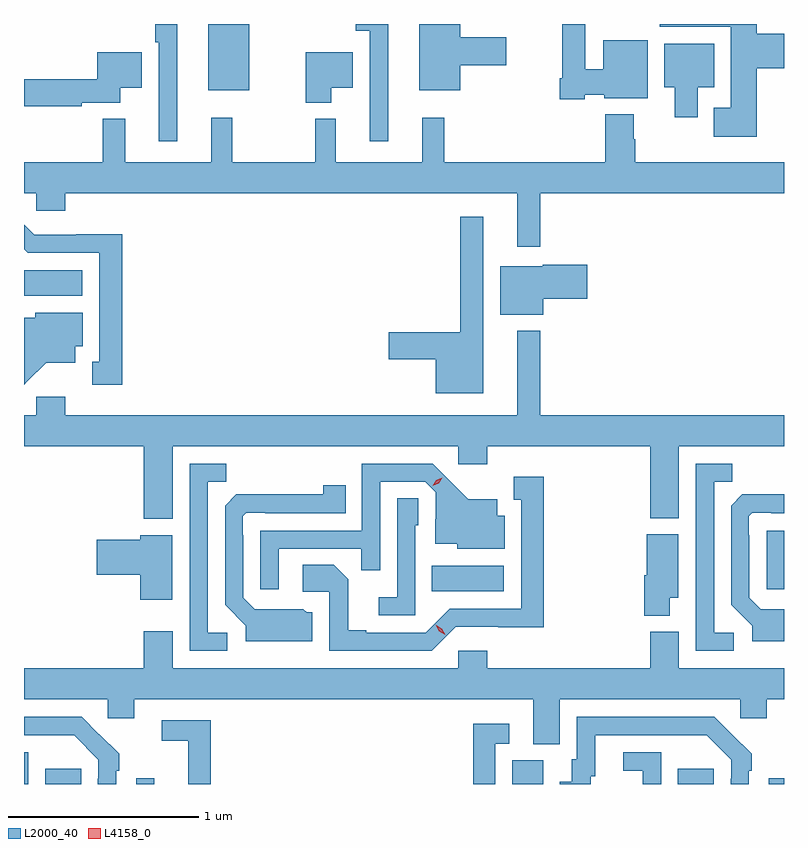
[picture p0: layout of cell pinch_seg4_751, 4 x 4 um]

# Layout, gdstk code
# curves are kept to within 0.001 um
import gdstk
lib = gdstk.Library(unit=1e-6, precision=1e-09)
def R(c, l, rs):  # rectangles x0, y0, x1, y1
    for r in rs: c.add(gdstk.rectangle(r[:2], r[2:], *l))
def P(c, l, *ps):  # polygons
    for p in ps: c.add(gdstk.Polygon(p, *l))
L2000_40 = (2000, 40)
L4158_0 = (4158, 0)

pinch_seg4_751 = lib.new_cell('pinch_seg4_751')
R(pinch_seg4_751, L2000_40, [(769.477,816.355,769.5,816.522), (769.589,816.355,769.777,816.436), (770.067,816.355,770.163,816.385), (772.046,816.355,772.21,816.48), (772.919,816.355,773.107,816.436), (773.397,816.355,773.477,816.385), (771.622,817.37,772.003,817.504), (773.385,817.38,773.477,817.689), (769.477,818.924,769.783,819.058), (770.447,820.007,770.662,820.355)])
P(pinch_seg4_751, L2000_40, [(773.333,820.121),(773.477,820.121),(773.477,820.304),(773.333,820.304),(773.333,820.355),(772.823,820.355),(772.823,820.34),(773.198,820.34),(773.198,819.913),(773.108,819.913),(773.108,819.761),(773.333,819.761)],
  [(770.284,820.355),(770.167,820.355),(770.167,820.259),(770.187,820.259),(770.187,819.738),(770.284,819.738)],
  [(771.394,820.355),(771.224,820.355),(771.224,820.319),(771.297,820.319),(771.297,819.738),(771.394,819.738)],
  [(771.772,820.139),(772.015,820.139),(772.015,820.286),(771.772,820.286),(771.772,820.355),(771.557,820.355),(771.557,820.007),(771.772,820.007)],
  [(772.428,819.983),(772.53,819.983),(772.53,819.965),(772.759,819.965),(772.759,820.27),(772.526,820.27),(772.526,820.118),(772.432,820.118),(772.432,820.354),(772.31,820.354),(772.31,820.069),(772.298,820.069),(772.298,819.958),(772.428,819.958)],
  [(773.023,820.022),(773.11,820.022),(773.11,820.252),(772.847,820.252),(772.847,820.022),(772.901,820.022),(772.901,819.864),(773.023,819.864)],
  [(771.094,820.019),(771.208,820.019),(771.208,820.207),(770.96,820.207),(770.96,819.941),(771.094,819.941)],
  [(769.782,819.941),(769.984,819.941),(769.984,820.019),(770.098,820.019),(770.098,820.207),(769.862,820.207),(769.862,820.064),(769.477,820.064),(769.477,819.922),(769.782,819.922)],
  [(772.195,819.464),(773.477,819.464),(773.477,819.628),(772.695,819.628),(772.695,819.749),(772.687,819.749),(772.687,819.88),(772.535,819.88),(772.535,819.628),(771.689,819.628),(771.689,819.862),(771.572,819.862),(771.572,819.628),(771.119,819.628),(771.119,819.856),(771.009,819.856),(771.009,819.628),(770.572,819.628),(770.572,819.862),(770.462,819.862),(770.462,819.628),(770.009,819.628),(770.009,819.856),(769.891,819.856),(769.891,819.628),(769.477,819.628),(769.477,819.464),(769.542,819.464),(769.542,819.371),(769.694,819.371),(769.694,819.464),(772.073,819.464),(772.073,819.183),(772.195,819.183)],
  [(771.895,819.34),(771.774,819.34),(771.774,818.732),(771.396,818.732),(771.396,818.59),(771.644,818.59),(771.644,818.411),(771.895,818.411)],
  [(769.993,819.248),(769.752,819.248),(769.752,819.246),(769.53,819.246),(769.477,819.299),(769.477,819.17),(769.497,819.15),(769.874,819.15),(769.874,818.577),(769.835,818.577),(769.835,818.457),(769.993,818.457)],
  [(772.21,818.909),(772.441,818.909),(772.441,819.087),(772.206,819.087),(772.206,819.079),(771.983,819.079),(771.983,818.825),(772.21,818.825)],
  [(769.492,818.471),(769.595,818.573),(769.747,818.573),(769.747,818.66),(769.786,818.66),(769.786,818.836),(769.536,818.836),(769.536,818.809),(769.477,818.809),(769.477,818.456)],
  [(770.26,818.132),(771.762,818.132),(771.762,818.037),(771.914,818.037),(771.914,818.132),(772.772,818.132),(772.772,817.754),(772.924,817.754),(772.924,818.132),(773.477,818.132),(773.477,818.296),(772.195,818.296),(772.195,818.74),(772.073,818.74),(772.073,818.296),(769.694,818.296),(769.694,818.392),(769.542,818.392),(769.542,818.296),(769.477,818.296),(769.477,818.132),(770.108,818.132),(770.108,817.752),(770.26,817.752)],
  [(773.212,817.152),(773.109,817.152),(773.109,817.945),(773.205,817.945),(773.205,818.04),(773.013,818.04),(773.013,817.056),(773.212,817.056)],
  [(770.548,817.152),(770.445,817.152),(770.445,817.945),(770.541,817.945),(770.541,818.04),(770.349,818.04),(770.349,817.056),(770.548,817.056)],
  [(770.817,817.593),(771.253,817.593),(771.253,817.48),(771.351,817.48),(771.351,817.947),(771.588,817.947),(771.645,817.89),(771.645,817.748),(771.641,817.748),(771.641,817.619),(771.756,817.619),(771.756,817.592),(772.006,817.592),(772.006,817.768),(771.967,817.768),(771.967,817.855),(771.815,817.855),(771.628,818.04),(771.255,818.04),(771.255,817.689),(770.721,817.689),(770.721,817.38),(770.817,817.38)],
  [(771.75,817.182),(772.213,817.181),(772.213,817.972),(772.055,817.972),(772.055,817.851),(772.094,817.851),(772.094,817.278),(771.717,817.278),(771.591,817.152),(771.277,817.152),(771.277,817.165),(771.183,817.165),(771.183,817.432),(771.107,817.508),(770.943,817.508),(770.943,817.368),(771.084,817.368),(771.084,817.056),(771.624,817.056)],
  [(770.995,817.26),(770.964,817.26),(770.948,817.276),(770.691,817.275),(770.631,817.335),(770.631,817.664),(770.628,817.664),(770.628,817.764),(770.646,817.782),(770.746,817.782),(770.746,817.779),(771.17,817.779),(771.17,817.927),(771.052,817.927),(771.052,817.88),(770.594,817.879),(770.535,817.82),(770.535,817.298),(770.645,817.188),(770.645,817.106),(770.995,817.106)],
  [(773.477,817.275),(773.355,817.275),(773.295,817.335),(773.295,817.664),(773.292,817.664),(773.292,817.764),(773.31,817.782),(773.41,817.782),(773.41,817.779),(773.477,817.779),(773.477,817.88),(773.258,817.879),(773.199,817.82),(773.199,817.298),(773.309,817.188),(773.309,817.106),(773.477,817.106)],
  [(771.537,817.716),(771.552,817.716),(771.552,817.859),(771.441,817.859),(771.441,817.339),(771.345,817.339),(771.345,817.242),(771.537,817.242)],
  [(772.876,817.334),(772.921,817.334),(772.921,817.669),(772.754,817.669),(772.754,817.455),(772.742,817.455),(772.742,817.241),(772.876,817.241)],
  [(770.257,817.663),(770.09,817.663),(770.09,817.64),(769.86,817.64),(769.86,817.457),(770.09,817.457),(770.09,817.326),(770.257,817.326)],
  [(772.297,816.8),(773.247,816.8),(773.247,816.702),(773.386,816.702),(773.386,816.8),(773.477,816.8),(773.477,816.964),(772.924,816.964),(772.924,817.156),(772.772,817.156),(772.772,816.964),(771.914,816.964),(771.914,817.057),(771.762,817.057),(771.762,816.964),(770.26,816.964),(770.26,817.159),(770.108,817.159),(770.108,816.964),(769.477,816.964),(769.477,816.8),(769.917,816.8),(769.917,816.702),(770.056,816.702),(770.056,816.8),(772.157,816.8),(772.157,816.565),(772.297,816.565)],
  [(769.962,816.425),(769.977,816.425),(769.977,816.513),(769.78,816.708),(769.477,816.708),(769.477,816.612),(769.741,816.612),(769.869,816.483),(769.869,816.383),(769.866,816.383),(769.866,816.355),(769.962,816.355)],
  [(772.459,816.396),(772.483,816.396),(772.483,816.612),(773.071,816.612),(773.199,816.483),(773.199,816.383),(773.196,816.383),(773.196,816.355),(773.292,816.355),(773.292,816.425),(773.307,816.425),(773.307,816.513),(773.11,816.708),(772.386,816.708),(772.386,816.486),(772.361,816.486),(772.361,816.367),(772.298,816.367),(772.298,816.355),(772.459,816.355)],
  [(770.459,816.69),(770.202,816.69),(770.202,816.582),(770.342,816.582),(770.342,816.355),(770.459,816.355)],
  [(771.957,816.567),(772.03,816.567),(772.03,816.673),(771.841,816.673),(771.841,816.355),(771.957,816.355)],
  [(772.83,816.522),(772.632,816.522),(772.632,816.426),(772.734,816.426),(772.734,816.355),(772.83,816.355)])
P(pinch_seg4_751, L4158_0, [(771.694,817.14),(771.662,817.16),(771.644,817.192),(771.644,817.192),(771.645,817.192),(771.676,817.173),(771.694,817.141),(771.694,817.14)],
  [(771.628,817.924),(771.628,817.924),(771.646,817.953),(771.677,817.968),(771.677,817.968),(771.677,817.968),(771.659,817.938),(771.628,817.924)])

lib.write_gds('pinch_seg4_751.gds')
